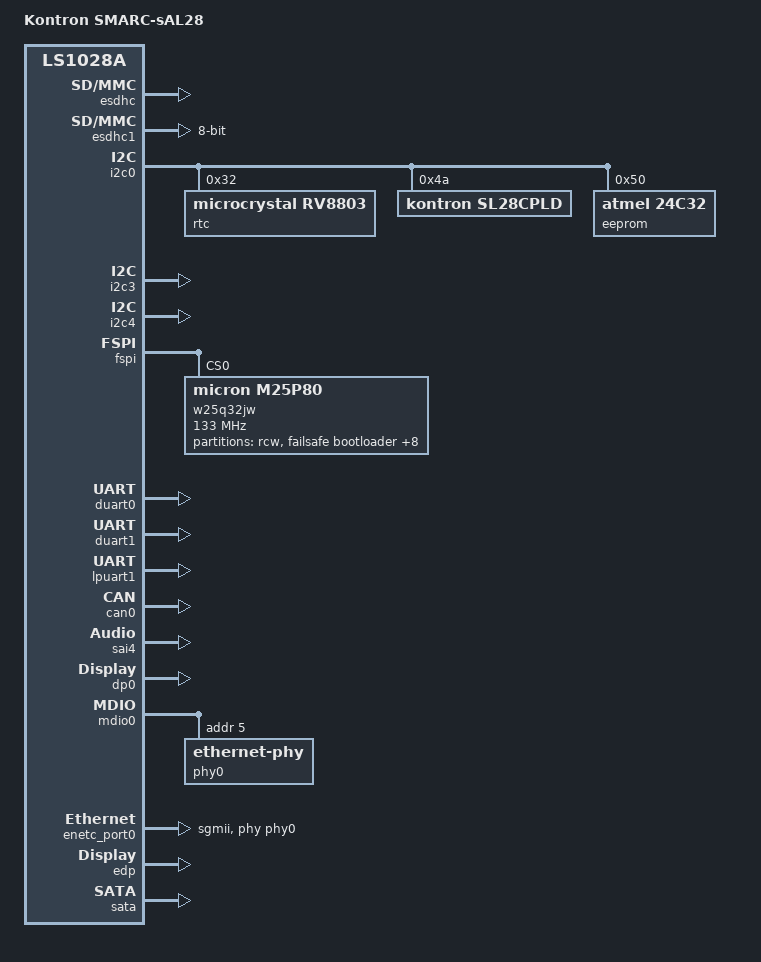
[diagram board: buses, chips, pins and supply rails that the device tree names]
/*
 * Device Tree Include file for Kontron SMARC-sAL28.
 */

/dts-v1/;
#include "freescale/fsl-ls1028a.dtsi"

/ {
	model = "Kontron SMARC-sAL28";
	compatible = "kontron,sl28", "fsl,ls1028a";

	aliases {
		crypto = &crypto;
		serial0 = &duart0;
		serial1 = &duart1;
	};

	chosen {
		stdout-path = "serial0:115200n8";
	};
};

&esdhc {
	status = "okay";
	sd-uhs-sdr104;
	sd-uhs-sdr50;
	sd-uhs-sdr25;
	sd-uhs-sdr12;
};

&esdhc1 {
	status = "okay";
	bus-width = <8>;
	mmc-hs200-1_8v;
};

&i2c0 {
	status = "okay";
	rtc@32 {
		compatible = "microcrystal,rv8803";
		reg = <0x32>;
	};

	sl28cpld@4a {
		#address-cells = <1>;
		#size-cells = <0>;
		compatible = "kontron,sl28cpld";
		reg = <0x4a>;

		watchdog@4 {
			compatible = "kontron,sl28cpld-wdt";
			reg = <0x4>;
		};

		gpi0@9 {
			compatible = "kontron,sl28cpld-gpi";
			reg = <0x9>;
		};

		fan@b {
			compatible = "kontron,sl28cpld-fan";
			reg = <0xb>;
		};

		pwm0@c {
			compatible = "kontron,sl28cpld-pwm";
			reg = <0xc>;
		};

		pwm1@e {
			compatible = "kontron,sl28cpld-pwm";
			reg = <0xe>;
		};

		gpio0@10 {
			compatible = "kontron,sl28cpld-gpio";
			reg = <0x10>;
		};

		gpio1@13 {
			compatible = "kontron,sl28cpld-gpio";
			reg = <0x13>;
		};

		gpo0@16 {
			compatible = "kontron,sl28cpld-gpo";
			reg = <0x16>;
		};

		gpo1@17 {
			compatible = "kontron,sl28cpld-gpo";
			reg = <0x17>;
		};
	};

	eeprom@50 {
		compatible = "atmel,24c32";
		reg = <0x50>;
	};
};

&i2c3 {
	status = "okay";
};

&i2c4 {
	status = "okay";
};

&fspi {
	status = "okay";
	w25q32jw@0 {
		#address-cells = <1>;
		#size-cells = <1>;
		compatible = "micron,m25p80";
		m25p,fast-read;
		spi-max-frequency = <133000000>;
		reg = <0>;
		/* The following setting enables 1-1-2 (CMD-ADDR-DATA) mode */
		spi-rx-bus-width = <2>; /* 2 SPI Rx lines */
		spi-tx-bus-width = <1>; /* 1 SPI Tx line */

		partition@0 {
			reg = <0x000000 0x010000>;
			label = "rcw";
		};

		partition@10000 {
			reg = <0x010000 0x0f0000>;
			label = "failsafe bootloader";
		};

		partition@100000 {
			reg = <0x100000 0x040000>;
			label = "failsafe DP firmware";
		};

		partition@140000 {
			reg = <0x140000 0x0a0000>;
			label = "failsafe PPA firmware";
		};

		partition@1e0000 {
			reg = <0x1e0000 0x020000>;
			label = "reserved";
		};

		partition@200000 {
			reg = <0x200000 0x010000>;
			label = "configuration store";
		};

		partition@210000 {
			reg = <0x210000 0x0f0000>;
			label = "bootloader";
		};

		partition@300000 {
			reg = <0x300000 0x040000>;
			label = "DP firmware";
		};

		partition@340000 {
			reg = <0x340000 0x0a0000>;
			label = "PPA firmware";
		};

		partition@3e0000 {
			reg = <0x3e0000 0x020000>;
			label = "bootloader environment";
		};
	};
};

&duart0 {
	status = "okay";
};

&duart1 {
	status = "okay";
};

&lpuart1 {
	status = "okay";
};

&can0 {
	status = "okay";
};

&sai4 {
	status = "okay";
};

&dp0 {
	status = "okay";
};

&mdio0 {
	phy0: ethernet-phy@5 {
		reg = <0x5>;
		// Atheros PHY on RDB seems to cause traffic loss @ 1Gbps w EEE
		eee-broken-1000t;
	};
};

&enetc_port0 {
	phy-handle = <&phy0>;
	phy-connection-type = "sgmii";
	status = "okay";
};

&enetc_port1 {
	status = "disabled";
};

&enetc_port2 {
	status = "disabled";
};

/* disabling leads to kernel crash */
//&enetc_port3 {
//	status = "disabled";
//};



/* l2switch ports */
/* port@4 has no reference in the dtsi.. */
/ {
	soc {
		pcie@1f0000000 {
			pci@0,5 {
				switch_port4: port@4 {
				};
				switch_port5: port@5 {
				};
			};
		};
	};
};

/* tmu */
&soc {
	tmu: tmu@1f80000 {
		compatible = "fsl,qoriq-tmu";
		reg = <0x0 0x1f80000 0x0 0x10000>;
		interrupts = <0 23 0x4>;
		fsl,tmu-range = <0xb0000 0xa0026 0x80048 0x70061>;
		fsl,tmu-calibration =
			/* Calibration data group 1 */
			<0x00000000 0x00000024
			0x00000001 0x0000002b
			0x00000002 0x00000031
			0x00000003 0x00000038
			0x00000004 0x0000003f
			0x00000005 0x00000045
			0x00000006 0x0000004c
			0x00000007 0x00000053
			0x00000008 0x00000059
			0x00000009 0x00000060
			0x0000000a 0x00000066
			0x0000000b 0x0000006d
			/* Calibration data group 2 */
			0x00010000 0x0000001c
			0x00010001 0x00000024
			0x00010002 0x0000002c
			0x00010003 0x00000035
			0x00010004 0x0000003d
			0x00010005 0x00000045
			0x00010006 0x0000004d
			0x00010007 0x00000055
			0x00010008 0x0000005e
			0x00010009 0x00000066
			0x0001000A 0x0000006e
			/* Calibration data group 3 */
			0x00020000 0x00000018
			0x00020001 0x00000022
			0x00020002 0x0000002d
			0x00020003 0x00000038
			0x00020004 0x00000043
			0x00020005 0x0000004d
			0x00020006 0x00000058
			0x00020007 0x00000063
			0x00020008 0x0000006e
			/* Calibration data group 4 */
			0x00030000 0x00000010
			0x00030001 0x0000001c
			0x00030002 0x00000029
			0x00030003 0x00000036
			0x00030004 0x00000042
			0x00030005 0x0000004f
			0x00030006 0x0000005b
			0x00030007 0x00000068>;
		little-endian;
		#thermal-sensor-cells = <1>;
	};

	thermal-zones {
		ddrc_thermal: ddrc-thermal {
			polling-delay-passive = <1000>;
			polling-delay = <5000>;
			thermal-sensors = <&tmu 0>;

			trips {
				ddrc_alert: ddrc-alert {
					temperature = <85000>;
					hysteresis = <2000>;
					type = "passive";
				};

				ddrc_crit: ddrc-crit {
					temperature = <95000>;
					hysteresis = <2000>;
					type = "critical";
				};
			};

			cooling-maps {
				map0 {
					trip = <&ddrc_alert>;
					cooling-device = <&cpu0 THERMAL_NO_LIMIT THERMAL_NO_LIMIT>;
				};
			};
		};

		cpu_thermal: cpu-thermal {
			polling-delay-passive = <1000>;
			polling-delay = <5000>;
			thermal-sensors = <&tmu 1>;

			trips {
				cpu_alert: cpu-alert {
					temperature = <85000>;
					hysteresis = <2000>;
					type = "passive";
				};

				cpu_crit: cpu-crit {
					temperature = <95000>;
					hysteresis = <2000>;
					type = "critical";
				};
			};

			cooling-maps {
				map0 {
					trip = <&cpu_alert>;
					cooling-device = <&cpu0 THERMAL_NO_LIMIT THERMAL_NO_LIMIT>;
				};
			};
		};
	};

	/* add missing sai nodes */
	sai3: sai@f120000 {
		#sound-dai-cells = <0>;
		compatible = "fsl,vf610-sai";
		reg = <0x0 0xf120000 0x0 0x10000>;
		interrupts = <0 83 0x4>;
		clocks = <&clockgen 4 0>, <&clockgen 4 1>,
			 <&clockgen 4 1>, <&clockgen 4 1>;
		clock-names = "bus", "mclk1", "mclk2", "mclk3";
		dma-names = "tx", "rx";
		dmas = <&edma0 1 8>,
		       <&edma0 1 7>;
		status = "disabled";
	};

	sai5: sai@f140000 {
		#sound-dai-cells = <0>;
		compatible = "fsl,vf610-sai";
		reg = <0x0 0xf140000 0x0 0x10000>;
		interrupts = <0 84 0x4>;
		clocks = <&clockgen 4 0>, <&clockgen 4 1>,
			 <&clockgen 4 1>, <&clockgen 4 1>;
		clock-names = "bus", "mclk1", "mclk2", "mclk3";
		dma-names = "tx", "rx";
		dmas = <&edma0 1 12>,
		       <&edma0 1 11>;
		status = "disabled";
	};

	sai6: sai@f150000 {
		#sound-dai-cells = <0>;
		compatible = "fsl,vf610-sai";
		reg = <0x0 0xf150000 0x0 0x10000>;
		interrupts = <0 84 0x4>;
		clocks = <&clockgen 4 0>, <&clockgen 4 1>,
			 <&clockgen 4 1>, <&clockgen 4 1>;
		clock-names = "bus", "mclk1", "mclk2", "mclk3";
		dma-names = "tx", "rx";
		dmas = <&edma0 1 14>,
		       <&edma0 1 13>;
		status = "disabled";
	};

	pwm0: pwm@2800000 {
		compatible = "fsl,vf610-ftm-pwm";
		#pwm-cells = <3>;
		reg = <0x0 0x2800000 0x0 0x10000>;
		clock-names = "ftm_sys", "ftm_ext",
			      "ftm_fix", "ftm_cnt_clk_en";
		clocks = <&clockgen 4 1>,
			 <&clockgen 4 1>,
			 <&clockgen 4 1>,
			 <&clockgen 4 1>;
		status = "disabled";
	};
};

&switch_port0 {
	status = "disabled";
};

&switch_port1 {
	status = "disabled";
};

&switch_port2 {
	status = "disabled";
};

&switch_port3 {
	status = "disabled";
};

&switch_port4 {
	status = "disabled";
};

&switch_port5 {
	status = "disabled";
};

&edp {
	lane_mapping = <0x4e>;
	status = "okay";
};

&sata {
	status = "okay";
};
